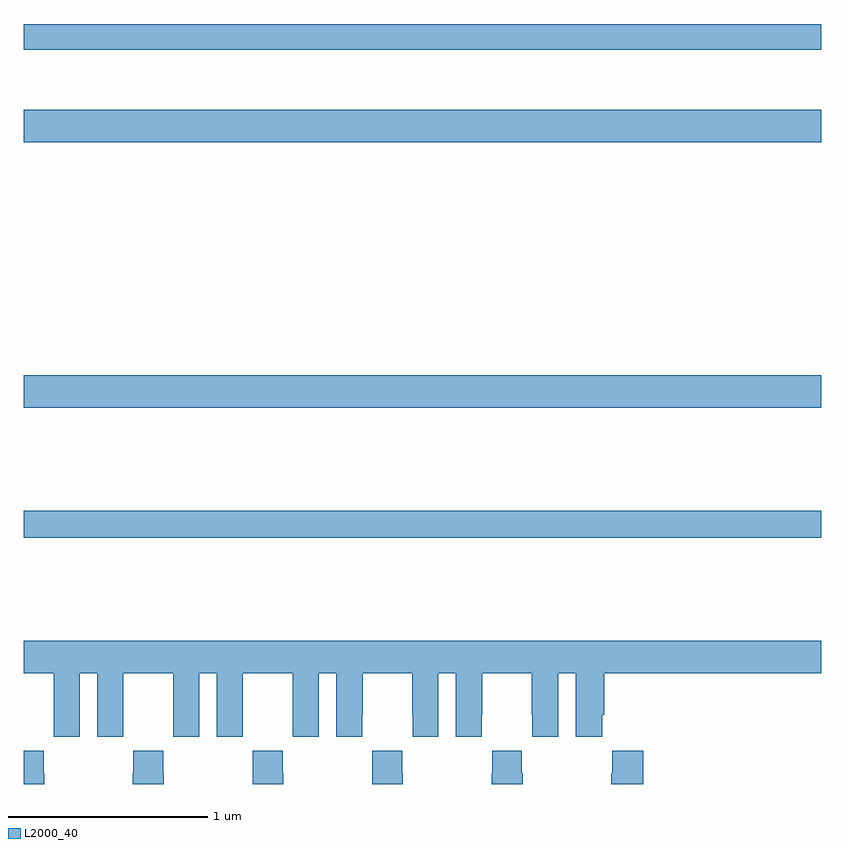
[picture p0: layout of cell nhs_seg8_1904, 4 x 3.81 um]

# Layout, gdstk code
import gdstk
lib = gdstk.Library(unit=1e-6, precision=1e-09)
def R(c, l, rs):  # rectangles x0, y0, x1, y1
    for r in rs: c.add(gdstk.rectangle(r[:2], r[2:], *l))
def P(c, l, *ps):  # polygons
    for p in ps: c.add(gdstk.Polygon(p, *l))
L2000_40 = (2000, 40)

nhs_seg8_1904 = lib.new_cell('nhs_seg8_1904')
R(nhs_seg8_1904, L2000_40, [(231,1161.136,235,1161.272), (231,1161.788,235,1161.952), (231,1163.12,235,1163.284), (231,1163.586,235,1163.714)])
P(nhs_seg8_1904, L2000_40, [(231.28,1160.456),(231.368,1160.456),(231.368,1160.136),(231.498,1160.136),(231.498,1160.248),(231.499,1160.248),(231.499,1160.456),(231.749,1160.456),(231.749,1160.248),(231.75,1160.248),(231.75,1160.136),(231.88,1160.136),(231.88,1160.456),(231.968,1160.456),(231.968,1160.136),(232.098,1160.136),(232.098,1160.248),(232.099,1160.248),(232.099,1160.456),(232.349,1160.456),(232.349,1160.248),(232.35,1160.248),(232.35,1160.136),(232.48,1160.136),(232.48,1160.456),(232.568,1160.456),(232.568,1160.136),(232.698,1160.136),(232.698,1160.248),(232.699,1160.248),(232.699,1160.456),(232.949,1160.456),(232.949,1160.248),(232.95,1160.248),(232.95,1160.136),(233.08,1160.136),(233.08,1160.456),(233.168,1160.456),(233.168,1160.136),(233.298,1160.136),(233.298,1160.248),(233.299,1160.248),(233.299,1160.456),(233.549,1160.456),(233.549,1160.248),(233.55,1160.248),(233.55,1160.136),(233.68,1160.136),(233.68,1160.456),(233.768,1160.456),(233.768,1160.136),(233.902,1160.136),(233.902,1160.248),(233.912,1160.248),(233.912,1160.456),(235,1160.456),(235,1160.62),(231,1160.62),(231,1160.456),(231.149,1160.456),(231.149,1160.248),(231.15,1160.248),(231.15,1160.136),(231.28,1160.136)],
  [(233.502,1159.955),(233.499,1159.955),(233.499,1160.068),(233.349,1160.068),(233.349,1159.955),(233.347,1159.955),(233.347,1159.9),(233.502,1159.9)],
  [(232.902,1159.955),(232.899,1159.955),(232.899,1160.068),(232.749,1160.068),(232.749,1159.955),(232.747,1159.955),(232.747,1159.9),(232.902,1159.9)],
  [(232.302,1159.955),(232.299,1159.955),(232.299,1160.068),(232.149,1160.068),(232.149,1159.955),(232.147,1159.955),(232.147,1159.9),(232.302,1159.9)],
  [(231.702,1159.955),(231.699,1159.955),(231.699,1160.068),(231.549,1160.068),(231.549,1159.955),(231.547,1159.955),(231.547,1159.9),(231.702,1159.9)],
  [(231.102,1159.955),(231.099,1159.955),(231.099,1160.068),(231,1160.068),(231,1159.9),(231.102,1159.9)],
  [(234.107,1160.068),(233.953,1160.068),(233.953,1159.955),(233.947,1159.955),(233.947,1159.9),(234.107,1159.9)])

lib.write_gds('nhs_seg8_1904.gds')
